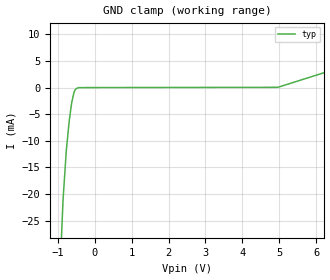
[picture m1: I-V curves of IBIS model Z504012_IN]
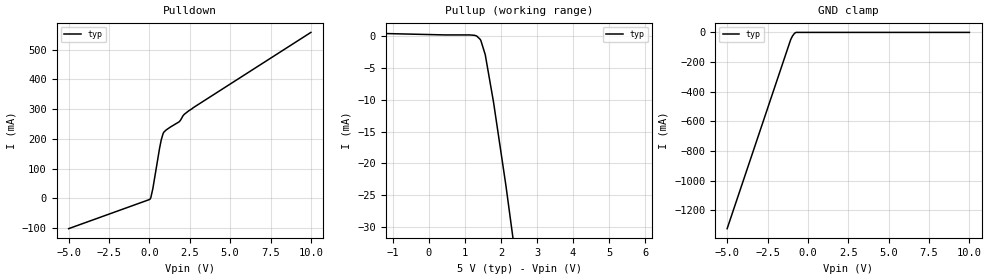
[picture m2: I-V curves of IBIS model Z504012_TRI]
| YOU ARE ONLY AUTHORIZED TO USE THIS SOFTWARE
| ACCORDING TO LICENSOR'S LICENSE RESTRICTIONS.
[IBIS Ver] 3.1
[File Name] mc74f365n.ibs
[File Rev] 2.0
[Source] Measured and created by ICX Technology
[Date] Friday 7/14/00 9:08:05 AM
[Copyright]
| (C) COPYRIGHT 1993-2000
| MENTOR GRAPHICS CORPORATION
| ICX STANDARD LIBRARY, ICX PROJECT MODELING,
| ICX CUSTOM MODELING, ICX VENDOR MODEL
| ALL RIGHTS RESERVED.
| THE FOLLOWING ARE TRADEMARKS OR SERVICE MARKS OF
| MENTOR GRAPHICS CORPORATION:ICX (R), ICX STANDARD
| LIBRARY(R), ICX PROJECT MODELING(R), ICX CUSTOM
| MODELING(R), qualityIBIS(TM), MODELVIEWER(TM),
| AND MODELEDITOR(TM)
| ALL COPIES OF SOFTWARE, INCLUDING BUT NOT LIMITED TO
| ANY MODIFICATIONS, ENHANCEMENTS OR DERIVATIVE WORKS,
| MUST CONTAIN ALL MENTOR GRAPHICS CORPORATION'S
| NOTICES AND LEGENDS, INCLUDING THOSE EMBEDDED IN
| SOFTWARE AND THOSE AFFIXED TO SOFTWARE MEDIUM
| AND CONTAINER, AS RECEIVED FROM MENTOR GRAPHICS
| CORPORATION.
|  ZAP Model Builder 2.7
[Component] MC74F365N
[Manufacturer] OnSemiconductor
[Package]
| variable   typ   min   max
R_pkg  .212ohms NA NA
L_pkg  4.758nH NA NA
C_pkg  1.143pF NA NA
[Pin] signal_name  model_name  R_pin  L_pin C_pin
1 _G1 Z504012_IN .224 7.258n 1.578p
2 A0 Z504012_IN .216 5.258n 1.288p
3 Y0 Z504012_TRI .208 3.758n .998p
4 A1 Z504012_IN .2 2.758n .708p
5 Y1 Z504012_TRI .2 2.758n .708p
6 A2 Z504012_IN .208 3.758n .998p
7 Y2 Z504012_TRI .216 5.258n 1.288p
8 GROUND GND .224 7.258n 1.578p
9 Y3 Z504012_TRI .224 7.258n 1.578p
10 A3 Z504012_IN .216 5.258n 1.288p
11 Y4 Z504012_TRI .208 3.758n .998p
12 A4 Z504012_IN .2 2.758n .708p
13 Y5 Z504012_TRI .2 2.758n .708p
14 A5 Z504012_IN .208 3.758n .998p
15 _G2 Z504012_IN .216 5.258n 1.288p
16 VCC POWER .224 7.258n 1.578p
| Models and submodels in the file (2): Z504012_IN (Input), Z504012_TRI (3-state)
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| (C) COPYRIGHT 1993-2000
| MENTOR GRAPHICS CORPORATION
| ICX STANDARD LIBRARY, ICX PROJECT MODELING,
| ICX CUSTOM MODELING, ICX VENDOR MODEL
| ALL RIGHTS RESERVED.
| THE FOLLOWING ARE TRADEMARKS OR SERVICE MARKS OF
| MENTOR GRAPHICS CORPORATION:ICX (R), ICX STANDARD
| LIBRARY(R), ICX PROJECT MODELING(R), ICX CUSTOM
| MODELING(R), qualityIBIS(TM), MODELVIEWER(TM),
| AND MODELEDITOR(TM)
| ALL COPIES OF SOFTWARE, INCLUDING BUT NOT LIMITED TO
| ANY MODIFICATIONS, ENHANCEMENTS OR DERIVATIVE WORKS,
| MUST CONTAIN ALL MENTOR GRAPHICS CORPORATION'S
| NOTICES AND LEGENDS, INCLUDING THOSE EMBEDDED IN
| SOFTWARE AND THOSE AFFIXED TO SOFTWARE MEDIUM
| AND CONTAINER, AS RECEIVED FROM MENTOR GRAPHICS
| CORPORATION.
| Model Application Version 1.89 2/18/99.
[Model] Z504012_IN
Model_type Input
Vinl = 800.0mV
Vinh = 2.000V
C_comp 4.000pF NA NA
| variable typ   min   max
[Voltage Range] 5.000V NA NA
[GND Clamp Reference] 0.000V NA NA
[POWER Clamp Reference] 5.000V NA NA
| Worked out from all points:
|   GND clamp passes 1 mA (typ) near -0.56 V on its own axis
[GND Clamp]
-5V       -698mA     NA         NA
-853.5mV  -20.95mA   NA         NA
-766mV    -11.83mA   NA         NA
-686.2mV  -6.183mA   NA         NA
-618.7mV  -2.784mA   NA         NA
-560.6mV  -952.3uA   NA         NA
-527.3mV  -418.9uA   NA         NA
-484.4mV  -141.9uA   NA         NA
-214.5mV  -6.007uA   NA         NA
4.974V    74.08uA    NA         NA
10V       11.1mA     NA         NA
[POWER Clamp]
-5V       0A         NA         NA
10V       0A         NA         NA
| (C) COPYRIGHT 1993-2000
| MENTOR GRAPHICS CORPORATION
| ICX STANDARD LIBRARY, ICX PROJECT MODELING,
| ICX CUSTOM MODELING, ICX VENDOR MODEL
| ALL RIGHTS RESERVED.
| THE FOLLOWING ARE TRADEMARKS OR SERVICE MARKS OF
| MENTOR GRAPHICS CORPORATION:ICX (R), ICX STANDARD
| LIBRARY(R), ICX PROJECT MODELING(R), ICX CUSTOM
| MODELING(R), qualityIBIS(TM), MODELVIEWER(TM),
| AND MODELEDITOR(TM)
| ALL COPIES OF SOFTWARE, INCLUDING BUT NOT LIMITED TO
| ANY MODIFICATIONS, ENHANCEMENTS OR DERIVATIVE WORKS,
| MUST CONTAIN ALL MENTOR GRAPHICS CORPORATION'S
| NOTICES AND LEGENDS, INCLUDING THOSE EMBEDDED IN
| SOFTWARE AND THOSE AFFIXED TO SOFTWARE MEDIUM
| AND CONTAINER, AS RECEIVED FROM MENTOR GRAPHICS
| CORPORATION.
| Model Application Version 1.89 2/18/99.
[Model] Z504012_TRI
Model_type 3-state
Vref=0.000V
Rref=500.0ohms
Cref=50.00pF
Vmeas=1.500V
C_comp 8.000pF NA NA
| variable typ   min   max
[Voltage Range] 5.000V NA NA
[POWER Clamp Reference] 5.000V NA NA
[Pullup Reference] 5.000V NA NA
[Pulldown Reference] 0.000V NA NA
[GND Clamp Reference] 0.000V NA NA
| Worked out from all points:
|   slope of the pulldown table from 0 to 0.75 V, typ, clamps not added: 3.68 ohm
|   slope of the pullup table from 0 to 0.75 V, typ, clamps not added: 12.6 kohm
|   GND clamp passes 1 mA (typ) near -0.75 V on its own axis
[GND Clamp]
-5V       -1.323A    NA         NA
-1.068V   -49.42mA   NA         NA
-956.5mV  -24.68mA   NA         NA
-820.2mV  -5.262mA   NA         NA
-729.1mV  0A         NA         NA
10V       0A         NA         NA
[Pulldown]
-5V       -101.8mA   NA         NA
33.42mV   -2.904mA   NA         NA
86.98mV   2.126mA    NA         NA
214.7mV   32.93mA    NA         NA
626.5mV   167.3mA    NA         NA
732.4mV   196.4mA    NA         NA
849.7mV   218.2mA    NA         NA
903.4mV   223.2mA    NA         NA
1.846V    257.6mA    NA         NA
2.158V    282.6mA    NA         NA
2.71V     304.8mA    NA         NA
10V       558.2mA    NA         NA
[Pullup]
-5V       893.9uA    NA         NA
454.5mV   177uA      NA         NA
1.124V    177uA      NA         NA
1.26V     123.5uA    NA         NA
1.324V    10.36uA    NA         NA
1.421V    -510.6uA   NA         NA
1.44V     -699.7uA   NA         NA
1.562V    -2.918mA   NA         NA
1.791V    -10.34mA   NA         NA
2.137V    -23.51mA   NA         NA
10V       -354.4mA   NA         NA
[POWER Clamp]
-5V       0A         NA         NA
10V       0A         NA         NA
[Ramp]
| variable typ min max
dV/dt_r 1.956/1.759n NA NA
dV/dt_f 1.956/1.550n NA NA
R_load = 500.0Ohms
